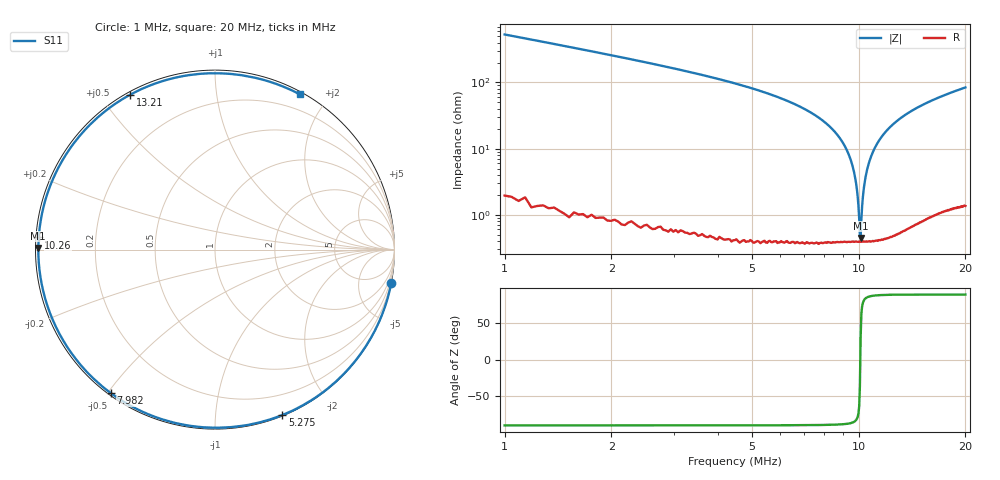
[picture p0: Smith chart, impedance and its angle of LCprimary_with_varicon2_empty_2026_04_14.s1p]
# HZ S RI R 50
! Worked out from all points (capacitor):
!   401 points, 1 MHz to 20 MHz, reference 50 ohm
!   read as one part to ground: C = 297 pF near 1.095 MHz
!   lowest |Z| = 448 mohm at 10.12 MHz (marker M1)
!   series resonance near 10.1 MHz, so ESL is about 840 nH
!   S11 on the Smith chart (normalised r, x): 1 MHz: 0, -11; 5.275 MHz: 0.01, -1.49; 7.982 MHz: 0.01, -0.51; 10.26 MHz: 0.01, +0.03; 13.21 MHz: 0.01, +0.59; 20 MHz: 0.03, +1.68
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1000000  0.9817 -0.1865
2235000  0.9073 -0.4171
3375000  0.7761 -0.6269
4372500  0.5984 -0.7973
5275000  0.3749 -0.9221
5750000  0.2319 -0.9665
6367500  0.0223 -0.9924
6937500  -0.1894 -0.9727
7460000  -0.3887 -0.9102
7982500  -0.5793 -0.8004
8125000  -0.6278 -0.7626
8695000  -0.7985 -0.5785
9170000  -0.9028 -0.3943
9645000  -0.9652 -0.1942
1.012e7  -0.9844 0.00854
1.02625e7  -0.982 0.068
1.05e7  -0.9705 0.1643
1.107e7  -0.9097 0.3769
1.16875e7  -0.8042 0.5687
1.22575e7  -0.6852 0.707
1.2875e7  -0.5476 0.8178
1.32075e7  -0.4733 0.8626
1.41575e7  -0.2706 0.9453
1.525e7  -0.0669 0.9805
1.639e7  0.1085 0.9767
1.7625e7  0.2608 0.948
1.88125e7  0.377 0.9094
2e7  0.4708 0.8662
